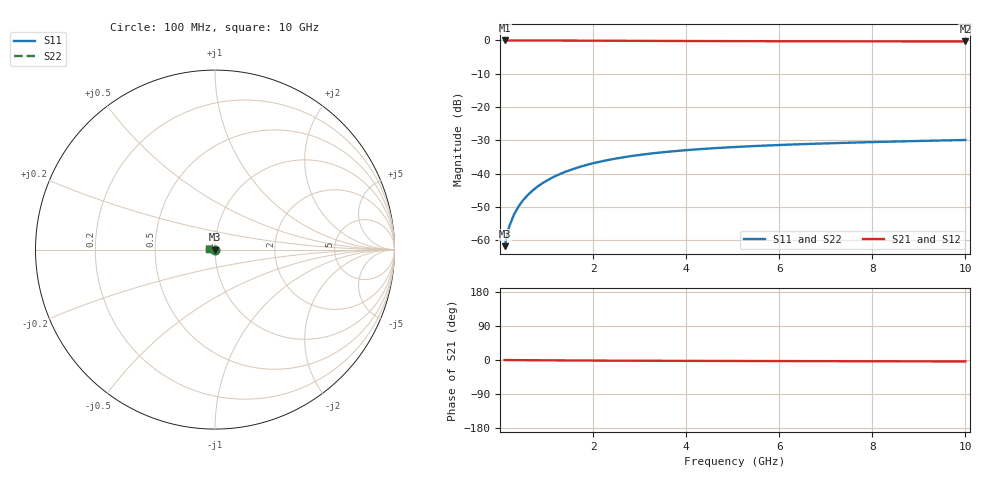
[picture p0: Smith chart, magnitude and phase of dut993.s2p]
! Touchstone file exported from HFSS 2024.1.0
!  File:  C:/UserFiles/LocalFiles/RDL_TSV_Batchsim/temp_TSV1_993_1779952907.aedt
!  Generated:  03:27:41 PM May 28, 2026
!  Design:  TSV1
!  Project:  temp_TSV1_993_1779952907
!  Setup:  Setup1
!  Solution:  Sweep
! Variables:
!  dtsv = 8.77um
!  hbump = 3um
!  htsv = 57.54um
!  lrdl = 252.1521522um
!  p = 40
!  p1 = 45.76um
!  t = 500um
!  trdl = 3um
!  wrdl = 24.89489489um
# GHz S MA R 50.000000
! Terminal data exported
! Port[1] = TSV22_T1
! Port[2] = TSV22_T2
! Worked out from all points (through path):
!   100 points, 100 MHz to 10 GHz, reference 50 ohm
!   highest |S21| = 0.00 dB at 100 MHz (marker M1); lowest = -0.3 dB at 10 GHz (marker M2)
!   lowest |S11| = -61.8 dB at 100 MHz (marker M3), VSWR 1.00, Z = 50 - j0.0798 ohm
!   |S11| at or under -10 dB: start of sweep to end of sweep
!   |S22| runs from -61.8 to -29.9 dB; largest |S21 - S12| = 8.4e-15
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0.1  0.0008091 -80.6  0.9998 -0.1  0.9998 -0.1  0.0008091 -80.6
! Gamma 0 0 0 0
! Port Impedance 50 0 50 0
0.2  0.001607 -87.7  0.9997 -0.2  0.9997 -0.2  0.001607 -87.7
0.3  0.002406 -91.4  0.9996 -0.3  0.9996 -0.3  0.002406 -91.4
0.4  0.003201 -94.2  0.9994 -0.3  0.9994 -0.3  0.003201 -94.2
0.5  0.003989 -96.5  0.9992 -0.4  0.9992 -0.4  0.003989 -96.5
0.6  0.00477 -98.7  0.9989 -0.5  0.9989 -0.5  0.00477 -98.7
0.7  0.00554 -100.7  0.9986 -0.6  0.9986 -0.6  0.00554 -100.7
0.8  0.0063 -102.7  0.9982 -0.7  0.9982 -0.7  0.0063 -102.7
0.9  0.007047 -104.6  0.9978 -0.8  0.9978 -0.8  0.007047 -104.6
1.1  0.008502 -108.2  0.9969 -0.9  0.9969 -0.9  0.008502 -108.2
1.4  0.01057 -113.3  0.9954 -1.1  0.9954 -1.1  0.01057 -113.3
1.6  0.01186 -116.6  0.9942 -1.3  0.9942 -1.3  0.01186 -116.6
1.8  0.01309 -119.7  0.993 -1.4  0.993 -1.4  0.01309 -119.7
2.1  0.0148 -124.2  0.9912 -1.6  0.9912 -1.6  0.0148 -124.2
2.5  0.01683 -129.7  0.9887 -1.8  0.9887 -1.8  0.01683 -129.7
2.9  0.01861 -134.8  0.9863 -1.9  0.9863 -1.9  0.01861 -134.8
3.4  0.02052 -140.6  0.9835 -2.1  0.9835 -2.1  0.02052 -140.6
4.2  0.02299 -148.7  0.9797 -2.4  0.9797 -2.4  0.02299 -148.7
5.1  0.02513 -156.4  0.9762 -2.6  0.9762 -2.6  0.02513 -156.4
6.7  0.02793 -167.6  0.9716 -3.0  0.9716 -3.0  0.02793 -167.6
8.4  0.03015 -177.2  0.9684 -3.4  0.9684 -3.4  0.03015 -177.2
10  0.03191 175.3  0.9663 -3.8  0.9663 -3.8  0.03191 175.3
